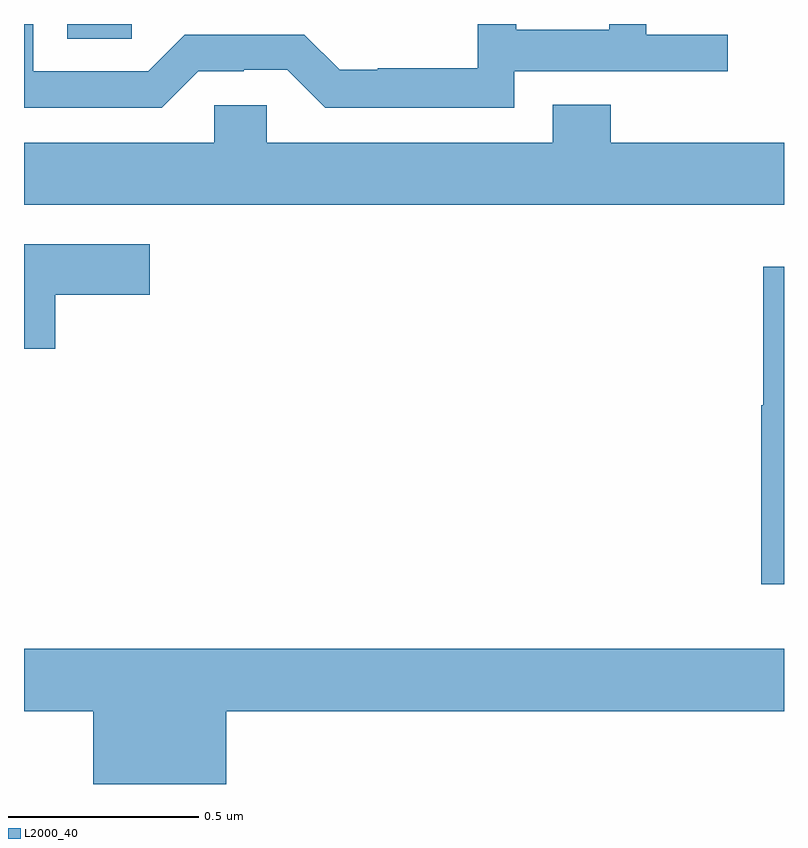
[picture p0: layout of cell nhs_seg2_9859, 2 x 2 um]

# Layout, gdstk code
import gdstk
lib = gdstk.Library(unit=1e-6, precision=1e-09)
def R(c, l, rs):  # rectangles x0, y0, x1, y1
    for r in rs: c.add(gdstk.rectangle(r[:2], r[2:], *l))
def P(c, l, *ps):  # polygons
    for p in ps: c.add(gdstk.Polygon(p, *l))
L2000_40 = (2000, 40)

nhs_seg2_9859 = lib.new_cell('nhs_seg2_9859')
R(nhs_seg2_9859, L2000_40, [(234.114,626.761,234.283,626.8)])
P(nhs_seg2_9859, L2000_40, [(235.29,626.676),(235.852,626.676),(235.852,626.772),(235.638,626.772),(235.638,626.8),(235.54,626.8),(235.54,626.785),(235.295,626.785),(235.295,626.8),(235.194,626.8),(235.194,626.683),(234.931,626.683),(234.931,626.679),(234.831,626.679),(234.738,626.772),(234.423,626.772),(234.327,626.676),(234.024,626.676),(234.024,626.8),(234,626.8),(234,626.58),(234.363,626.58),(234.459,626.676),(234.578,626.676),(234.578,626.679),(234.693,626.679),(234.793,626.579),(235.29,626.579)],
  [(236,626.488),(235.544,626.488),(235.544,626.587),(235.391,626.587),(235.391,626.488),(234.639,626.488),(234.639,626.586),(234.501,626.586),(234.501,626.488),(234,626.488),(234,626.324),(236,626.324)],
  [(234.082,626.087),(234.331,626.087),(234.331,626.221),(234,626.221),(234,625.946),(234.082,625.946)],
  [(236,626.161),(235.946,626.161),(235.946,625.797),(235.94,625.797),(235.94,625.326),(236,625.326)],
  [(234.532,624.992),(236,624.992),(236,625.156),(234,625.156),(234,624.992),(234.182,624.992),(234.182,624.8),(234.532,624.8)])

lib.write_gds('nhs_seg2_9859.gds')
